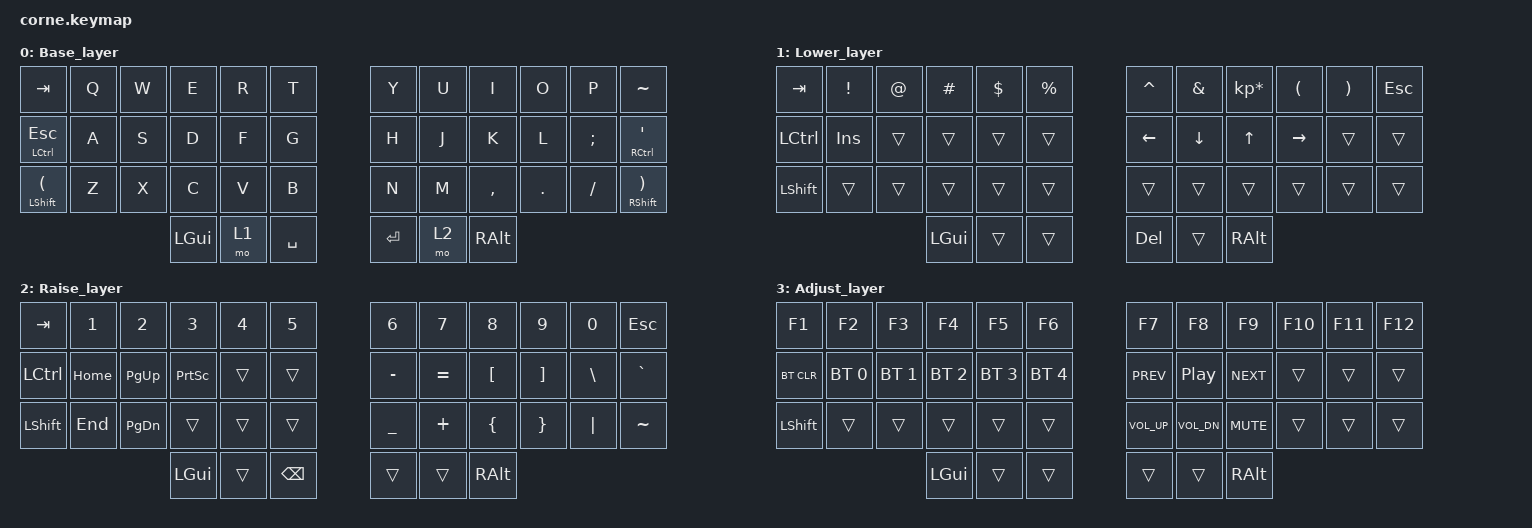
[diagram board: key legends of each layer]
/*
 * Copyright (c) 2020 The ZMK Contributors
 *
 * SPDX-License-Identifier: MIT
 */

#include <behaviors.dtsi>
#include <dt-bindings/zmk/keys.h>
#include <dt-bindings/zmk/bt.h>
#include <dt-bindings/zmk/ext_power.h>

#define BASE 0
#define LOWER 1
#define RAISE 2
#define ADJUST 3

/ {
        conditional_layers {
          compatible = "zmk,conditional-layers";
          tri_layer {
            if-layers = <1 2>;
            then-layer = <3>;
          };
        };

        keymap {
                compatible = "zmk,keymap";

                Base_layer {
// -----------------------------------------------------------------------------------------
// |  TAB |  Q  |  W  |  E  |  R  |  T  |   |  Y  |  U   |  I  |  O  |  P  |  ~   |
// | CTRL |  A  |  S  |  D  |  F  |  G  |   |  H  |  J   |  K  |  L  |  ;  |  '   |
// | SHFT |  Z  |  X  |  C  |  V  |  B  |   |  N  |  M   |  ,  |  .  |  /  | SHFT |
//                    | GUI | LWR | SPC |   | RET | RSE  | ALT |
                        bindings = <
   &kp TAB        &kp Q &kp W &kp E    &kp R &kp T        &kp Y &kp U  &kp I     &kp O   &kp P    &kp TILDE
   &mt LCTRL ESC  &kp A &kp S &kp D    &kp F &kp G        &kp H &kp J  &kp K     &kp L   &kp SEMI &mt RCTRL SQT
   &mt LSHFT LPAR &kp Z &kp X &kp C    &kp V &kp B        &kp N &kp M  &kp COMMA &kp DOT &kp FSLH &mt RSHFT RPAR
                             &kp LGUI &mo 1 &kp SPACE    &kp RET &mo 2 &kp RALT
                        >;
                };
                Lower_layer {
// -----------------------------------------------------------------------------------------
// |  TAB |  !  |  @  |  #  |  $  |  %  |   |  ^  |  &  |  *  |  (  |  )  | ESC  |
// | CTRL | Ins |     |     |     |     |   | LFT | DWN |  UP | RGT |     |      |
// | SHFT |     |     |     |     |     |   |     |     |     |     |     |      |
//                    | GUI |     |     |   | DEL |     | ALT |
                        bindings = <
   &kp  TAB  &kp EXCL &kp AT  &kp HASH &kp DLLR &kp PRCNT &kp CARET &kp AMPS &kp KP_MULTIPLY &kp LPAR &kp RPAR &kp ESC
   &kp LCTRL &kp INS  &trans  &trans   &trans   &trans    &kp LEFT  &kp DOWN &kp UP          &kp RIGHT &trans &trans
   &kp LSHFT &trans   &trans  &trans   &trans   &trans    &trans    &trans   &trans &trans   &trans &trans
                           &kp LGUI &trans &trans    &kp DEL  &trans   &kp RALT
                        >;
                };
                Raise_layer {
// -----------------------------------------------------------------------------------------
// |  TAB |  1  |  2  |  3  |  4  |  5  |   |  6  |  7  |  8  |  9  |  0  | ESC  |
// | CTRL | Home| PgUp| Prnt|     |     |   |  -  |  =  |  [  |  ]  |  \  |  `   |
// | SHFT | End | PgDn|     |     |     |   |  _  |  +  |  {  |  }  | "|" |  ~   |
//                    | GUI |     | BSP |   |     |     | ALT |
                        bindings = <
   &kp TAB   &kp N1   &kp N2    &kp N3    &kp N4   &kp N5     &kp N6    &kp N7    &kp N8   &kp N9   &kp N0   &kp ESC
   &kp LCTRL &kp HOME &kp PG_UP &kp PSCRN &trans   &trans     &kp MINUS &kp EQUAL &kp LBKT &kp RBKT &kp BSLH &kp GRAVE
   &kp LSHFT &kp END  &kp PG_DN &trans    &trans   &trans     &kp UNDER &kp PLUS  &kp LBRC &kp RBRC &kp PIPE &kp TILDE
                                 &kp LGUI &trans   &kp BSPC   &trans &trans &kp RALT
                        >;
                };
                Adjust_layer {
// -----------------------------------------------------------------------------------------
// |  F1  | F2  | F3  | F4  | F5  | F6  |   | F7  | F8  | F9  | F10 | F11 | F12  |
// | BTCLR| BT1 | BT2 | BT3 | BT4 | BT5 |   | Prev| P/P | Next|     |     |      |
// | SHFT |     |     |     |     |     |   | Vol+| Vol-| Mute|     |     |      |
//                    | GUI |     |     |   |     |     | ALT |
                        bindings = <
   &kp F1     &kp F2       &kp F3       &kp F4       &kp F5       &kp F6        &kp F7       &kp F8       &kp F9     &kp F10 &kp F11 &kp F12
   &bt BT_CLR &bt BT_SEL 0 &bt BT_SEL 1 &bt BT_SEL 2 &bt BT_SEL 3 &bt BT_SEL 4  &kp C_PREV   &kp C_PP     &kp C_NEXT &trans  &trans  &trans
   &kp LSHFT  &trans       &trans       &trans       &trans       &trans        &kp C_VOL_UP &kp C_VOL_DN &kp C_MUTE &trans  &trans  &trans
                                        &kp LGUI     &trans       &trans        &trans &trans &kp RALT
                        >;
                };
        };
};
